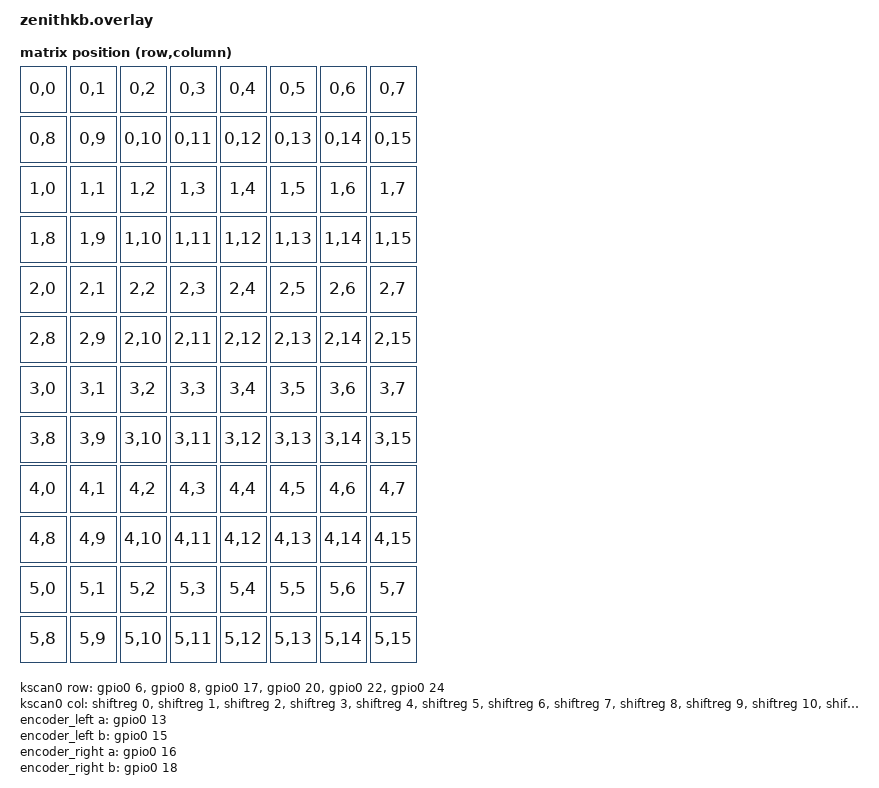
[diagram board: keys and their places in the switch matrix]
#include <dt-bindings/zmk/matrix_transform.h>

/ {
    chosen {
        zmk,kscan = &kscan0;
        zmk,matrix_transform = &default_transform;
    };

    default_transform: matrix_transform_0 {
        compatible = "zmk,matrix-transform";

        rows = <6>;
        columns = <16>;

        map = <
RC(0,0)  RC(0,1)  RC(0,2)  RC(0,3)  RC(0,4)  RC(0,5)  RC(0,6)  RC(0,7)
RC(0,8)  RC(0,9)  RC(0,10) RC(0,11) RC(0,12) RC(0,13) RC(0,14) RC(0,15)

RC(1,0)  RC(1,1)  RC(1,2)  RC(1,3)  RC(1,4)  RC(1,5)  RC(1,6)  RC(1,7)
RC(1,8)  RC(1,9)  RC(1,10) RC(1,11) RC(1,12) RC(1,13) RC(1,14) RC(1,15)

RC(2,0)  RC(2,1)  RC(2,2)  RC(2,3)  RC(2,4)  RC(2,5)  RC(2,6)  RC(2,7)
RC(2,8)  RC(2,9)  RC(2,10) RC(2,11) RC(2,12) RC(2,13) RC(2,14) RC(2,15)

RC(3,0)  RC(3,1)  RC(3,2)  RC(3,3)  RC(3,4)  RC(3,5)  RC(3,6)  RC(3,7)
RC(3,8)  RC(3,9)  RC(3,10) RC(3,11) RC(3,12) RC(3,13) RC(3,14) RC(3,15)

RC(4,0)  RC(4,1)  RC(4,2)  RC(4,3)  RC(4,4)  RC(4,5)  RC(4,6)  RC(4,7)
RC(4,8)  RC(4,9)  RC(4,10) RC(4,11) RC(4,12) RC(4,13) RC(4,14) RC(4,15)

RC(5,0)  RC(5,1)  RC(5,2)  RC(5,3)  RC(5,4)  RC(5,5)  RC(5,6)  RC(5,7)
RC(5,8)  RC(5,9)  RC(5,10) RC(5,11) RC(5,12) RC(5,13) RC(5,14) RC(5,15)
        >;
    };

    kscan0: kscan {
    compatible = "zmk,kscan-gpio-matrix";

    diode-direction = "col2row";

    row-gpios = <
        &gpio0 6 (GPIO_ACTIVE_HIGH | GPIO_PULL_DOWN)
        &gpio0 8 (GPIO_ACTIVE_HIGH | GPIO_PULL_DOWN)
        &gpio0 17 (GPIO_ACTIVE_HIGH | GPIO_PULL_DOWN)
        &gpio0 20 (GPIO_ACTIVE_HIGH | GPIO_PULL_DOWN)
        &gpio0 22 (GPIO_ACTIVE_HIGH | GPIO_PULL_DOWN)
        &gpio0 24 (GPIO_ACTIVE_HIGH | GPIO_PULL_DOWN)
    >;

    col-gpios = <
        &shiftreg 0 GPIO_ACTIVE_HIGH
        &shiftreg 1 GPIO_ACTIVE_HIGH
        &shiftreg 2 GPIO_ACTIVE_HIGH
        &shiftreg 3 GPIO_ACTIVE_HIGH
        &shiftreg 4 GPIO_ACTIVE_HIGH
        &shiftreg 5 GPIO_ACTIVE_HIGH
        &shiftreg 6 GPIO_ACTIVE_HIGH
        &shiftreg 7 GPIO_ACTIVE_HIGH

        &shiftreg 8 GPIO_ACTIVE_HIGH
        &shiftreg 9 GPIO_ACTIVE_HIGH
        &shiftreg 10 GPIO_ACTIVE_HIGH
        &shiftreg 11 GPIO_ACTIVE_HIGH
        &shiftreg 12 GPIO_ACTIVE_HIGH
        &shiftreg 13 GPIO_ACTIVE_HIGH
        &shiftreg 14 GPIO_ACTIVE_HIGH
        &shiftreg 15 GPIO_ACTIVE_HIGH
    >;
};

    encoder_left: encoder_left {
        compatible = "alps,ec11";
        a-gpios = <&gpio0 13 GPIO_PULL_UP>;
        b-gpios = <&gpio0 15 GPIO_PULL_UP>;
        steps = <4>;
    };

    encoder_right: encoder_right {
        compatible = "alps,ec11";
        a-gpios = <&gpio0 16 GPIO_PULL_UP>;
        b-gpios = <&gpio0 18 GPIO_PULL_UP>;
        steps = <4>;
    };
};

&i2c0 {
    compatible = "nordic,nrf-twi";
    status = "okay";

    sda-pin = <26>;
    scl-pin = <27>;

    oled: ssd1306@3c {
        compatible = "solomon,ssd1306fb";
        reg = <0x3c>;
        width = <128>;
        height = <32>;
    };
};

&spi3 {
    status = "okay";

    led_strip: ws2812@0 {
        compatible = "worldsemi,ws2812-spi";

        reg = <0>;

        spi-max-frequency = <4000000>;
        chain-length = <96>;

        color-mapping = <1 0 2>;
    };
};

&spi3 {
    compatible = "nordic,nrf-spim";
    status = "okay";

    pinctrl-0 = <&spi3_default>;
    pinctrl-1 = <&spi3_sleep>;
    pinctrl-names = "default", "sleep";

    shiftreg: gpio_spi {
        compatible = "fairchild,74hc595";

        gpio-controller;
        #gpio-cells = <2>;

        spi-max-frequency = <1000000>;

        reg = <0>;

        ngpios = <16>;

        latch-gpios = <&gpio0 10 GPIO_ACTIVE_HIGH>;
    };
};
